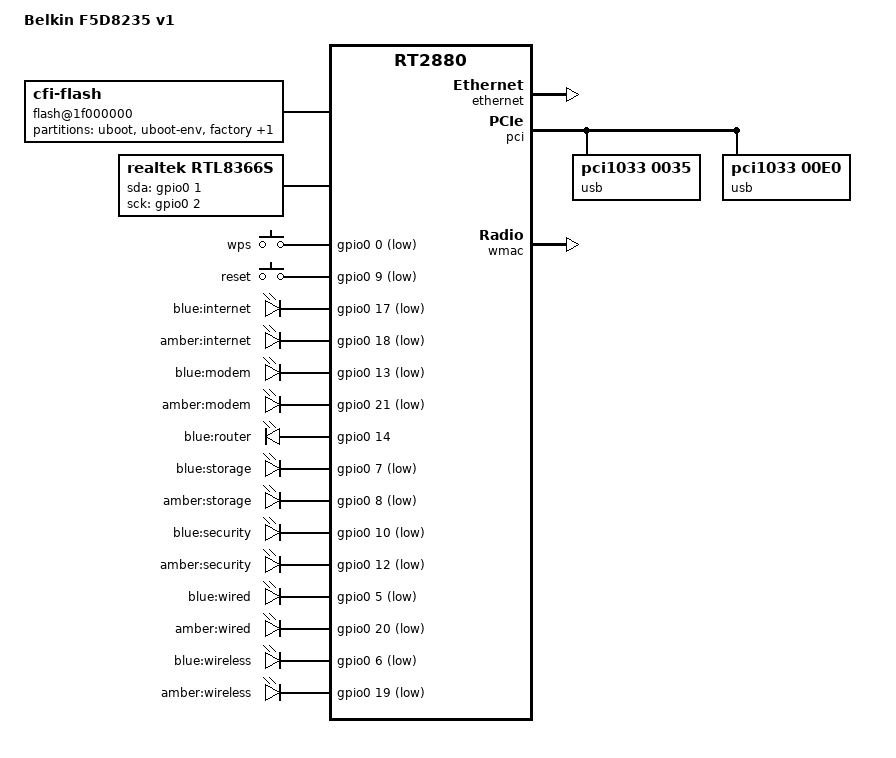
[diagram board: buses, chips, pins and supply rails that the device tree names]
#include "rt2880.dtsi"

#include <dt-bindings/gpio/gpio.h>
#include <dt-bindings/input/input.h>

/ {
	#address-cells = <1>;
	#size-cells = <1>;
	compatible = "belkin,f5d8235-v1", "ralink,rt2880-soc";
	model = "Belkin F5D8235 v1";

	aliases {
		led-boot = &led_wired_blue;
		led-failsafe = &led_wired_blue;
	};

	flash@1f000000 {
		compatible = "cfi-flash";
		reg = <0xbc400000 0x800000>;
		bank-width = <2>;
		device-width = <2>;

		partitions {
			compatible = "fixed-partitions";
			#address-cells = <1>;
			#size-cells = <1>;

			partition@0 {
				label = "uboot";
				reg = <0x0 0x30000>;
				read-only;
			};

			partition@30000 {
				label = "uboot-env";
				reg = <0x30000 0x10000>;
				read-only;
			};

			factory: partition@40000 {
				label = "factory";
				reg = <0x40000 0x10000>;
				read-only;
			};

			partition@50000 {
				compatible = "denx,uimage";
				label = "firmware";
				reg = <0x50000 0x7b0000>;
			};
		};
	};

	rtl8366s {
		compatible = "realtek,rtl8366s";
		gpio-sda = <&gpio0 1 GPIO_ACTIVE_HIGH>;
		gpio-sck = <&gpio0 2 GPIO_ACTIVE_HIGH>;

		realtek,initvals = <
			0x0242 0x02BF
			0x0245 0x02BF
			0x0248 0x02BF
			0x024B 0x02BF
			0x024E 0x02BF
			0x0251 0x02BF
			0x0254 0x0A3F
			0x0256 0x0A3F
			0x0258 0x0A3F
			0x025A 0x0A3F
			0x025C 0x0A3F
			0x025E 0x0A3F
			0x0263 0x007C
			0x0100 0x0004
			0xBE5B 0x3500
			0x800E 0x200F
			0xBE1D 0x0F00
			0x8001 0x5011
			0x800A 0xA2F4
			0x800B 0x17A3
			0xBE4B 0x17A3
			0xBE41 0x5011
			0xBE17 0x2100
			0x8000 0x8304
			0xBE40 0x8304
			0xBE4A 0xA2F4
			0x800C 0xA8D5
			0x8014 0x5500
			0x8015 0x0004
			0xBE4C 0xA8D5
			0xBE59 0x0008
			0xBE09 0x0E00
			0xBE36 0x1036
			0xBE37 0x1036
			0x800D 0x00FF
			0xBE4D 0x00FF
		>;

		realtek,green-ethernet-features;
	};

	keys {
		compatible = "gpio-keys-polled";
		poll-interval = <100>;

		wps {
			label = "wps";
			gpios = <&gpio0 0 GPIO_ACTIVE_LOW>;
			linux,code = <KEY_WPS_BUTTON>;
		};

		reset {
			label = "reset";
			gpios = <&gpio0 9 GPIO_ACTIVE_LOW>;
			linux,code = <KEY_RESTART>;
		};
	};

	leds {
		compatible = "gpio-leds";

		internet {
			label = "blue:internet";
			gpios = <&gpio0 17 GPIO_ACTIVE_LOW>;
		};

		internet2 {
			label = "amber:internet";
			gpios = <&gpio0 18 GPIO_ACTIVE_LOW>;
		};

		modem {
			label = "blue:modem";
			gpios = <&gpio0 13 GPIO_ACTIVE_LOW>;
		};

		modem2 {
			label = "amber:modem";
			gpios = <&gpio0 21 GPIO_ACTIVE_LOW>;
		};

		router {
			label = "blue:router";
			gpios = <&gpio0 14 GPIO_ACTIVE_HIGH>;
		};

		storage {
			label = "blue:storage";
			gpios = <&gpio0 7 GPIO_ACTIVE_LOW>;
			trigger-sources = <&ohci_port1>, <&ehci_port1>;
			linux,default-trigger = "usbport";
		};

		storage2 {
			label = "amber:storage";
			gpios = <&gpio0 8 GPIO_ACTIVE_LOW>;
		};

		security {
			label = "blue:security";
			gpios = <&gpio0 10 GPIO_ACTIVE_LOW>;
		};

		security2 {
			label = "amber:security";
			gpios = <&gpio0 12 GPIO_ACTIVE_LOW>;
		};

		led_wired_blue: wired {
			label = "blue:wired";
			gpios = <&gpio0 5 GPIO_ACTIVE_LOW>;
		};

		wired2 {
			label = "amber:wired";
			gpios = <&gpio0 20 GPIO_ACTIVE_LOW>;
		};

		wireless {
			label = "blue:wireless";
			gpios = <&gpio0 6 GPIO_ACTIVE_LOW>;
		};

		wireless2 {
			label = "amber:wireless";
			gpios = <&gpio0 19 GPIO_ACTIVE_LOW>;
		};
	};
};

&state_default {
	gpio {
		groups = "spi", "i2c", "jtag", "mdio", "uartlite";
		function = "gpio";
	};
};

&ethernet {
	status = "okay";
	nvmem-cells = <&macaddr_factory_4>;
	nvmem-cell-names = "mac-address";

	port@0 {
		mediatek,fixed-link = <1000 1 1 1>;
	};
};

&pci {
	status = "okay";

	usb@11,0 {
		#address-cells = <1>;
		#size-cells = <0>;
		compatible = "pci1033,0035";
		reg = <0x8800 0 0 0 0>;

		ohci_port1: port@1 {
			reg = <1>;
			#trigger-source-cells = <0>;
		};
	};

	usb@11,1 {
		#address-cells = <1>;
		#size-cells = <0>;
		compatible = "pci1033,00e0";
		reg = <0x8900 0 0 0 0>;

		ehci_port1: port@1 {
			reg = <1>;
			#trigger-source-cells = <0>;
		};
	};
};

&wmac {
	status = "okay";
	ralink,mtd-eeprom = <&factory 0x0>;
};

&factory {
	compatible = "nvmem-cells";
	#address-cells = <1>;
	#size-cells = <1>;

	macaddr_factory_4: macaddr@4 {
		reg = <0x4 0x6>;
	};
};
